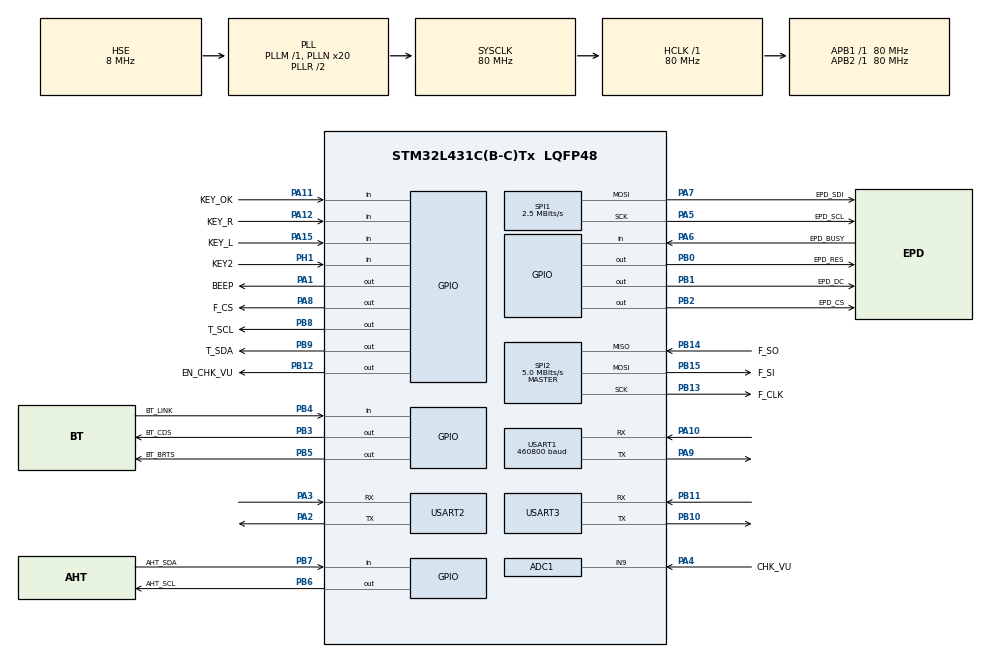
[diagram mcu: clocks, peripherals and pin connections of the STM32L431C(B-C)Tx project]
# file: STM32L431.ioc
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ADC1.Channel-1\#ChannelRegularConversion=ADC_CHANNEL_9
ADC1.NbrOfConversionFlag=1
ADC1.OffsetNumber-1\#ChannelRegularConversion=ADC_OFFSET_NONE
ADC1.Rank-1\#ChannelRegularConversion=1
ADC1.SamplingTime-1\#ChannelRegularConversion=ADC_SAMPLETIME_12CYCLES_5
ADC1.master=1
Dma.Request0=USART1_RX
Dma.Request1=USART1_TX
Dma.USART1_RX.0.Direction=DMA_PERIPH_TO_MEMORY
Dma.USART1_RX.0.Instance=DMA1_Channel5
Dma.USART1_RX.0.MemDataAlignment=DMA_MDATAALIGN_BYTE
Dma.USART1_RX.0.MemInc=DMA_MINC_ENABLE
Dma.USART1_RX.0.Mode=DMA_CIRCULAR
Dma.USART1_RX.0.PeriphDataAlignment=DMA_PDATAALIGN_BYTE
Dma.USART1_RX.0.PeriphInc=DMA_PINC_DISABLE
Dma.USART1_RX.0.Priority=DMA_PRIORITY_LOW
Dma.USART1_TX.1.Direction=DMA_MEMORY_TO_PERIPH
Dma.USART1_TX.1.Instance=DMA1_Channel4
Dma.USART1_TX.1.MemDataAlignment=DMA_MDATAALIGN_BYTE
Dma.USART1_TX.1.MemInc=DMA_MINC_ENABLE
Dma.USART1_TX.1.Mode=DMA_NORMAL
Dma.USART1_TX.1.PeriphDataAlignment=DMA_PDATAALIGN_BYTE
Dma.USART1_TX.1.PeriphInc=DMA_PINC_DISABLE
Dma.USART1_TX.1.Priority=DMA_PRIORITY_LOW
FREERTOS.Tasks01=defaultTask,0,128,StartDefaultTask,Default,NULL,Dynamic,NULL,NULL
FREERTOS.configMAX_PRIORITIES=16
FREERTOS.configTOTAL_HEAP_SIZE=15360
FREERTOS.configUSE_TICKLESS_IDLE=1
Mcu.Family=STM32L4
Mcu.Name=STM32L431C(B-C)Tx
Mcu.Package=LQFP48
NVIC.DMA1_Channel4_IRQn=true\:9\:0\:true\:false\:true\:true\:false\:true\:true
NVIC.DMA1_Channel5_IRQn=true\:9\:0\:true\:false\:true\:true\:false\:true\:true
NVIC.PriorityGroup=NVIC_PRIORITYGROUP_4
NVIC.TIM6_DAC_IRQn=true\:15\:0\:false\:false\:true\:false\:false\:true\:true
NVIC.TimeBase=TIM6_DAC_IRQn
NVIC.TimeBaseIP=TIM6
NVIC.USART1_IRQn=true\:7\:0\:true\:false\:true\:true\:true\:true\:true
NVIC.USART2_IRQn=true\:7\:0\:true\:false\:true\:true\:true\:true\:true
NVIC.USART3_IRQn=true\:8\:0\:true\:false\:true\:true\:true\:true\:true
PA0.GPIO_Label=KEY1_WKUP
PA0.Mode=SYS_WakeUp0
PA0.Signal=SYS_WKUP1
PA1.GPIO_Label=BEEP
PA1.GPIO_ModeDefaultOutputPP=GPIO_MODE_OUTPUT_PP
PA1.GPIO_PuPd=GPIO_PULLUP
PA1.GPIO_Speed=GPIO_SPEED_FREQ_HIGH
PA1.PinState=GPIO_PIN_RESET
PA1.Signal=GPIO_Output
PA10.Mode=Asynchronous
PA10.Signal=USART1_RX
PA11.GPIO_Label=KEY_OK
PA11.GPIO_PuPd=GPIO_PULLUP
PA11.Signal=GPIO_Input
PA12.GPIO_Label=KEY_R
PA12.GPIO_PuPd=GPIO_PULLUP
PA12.Signal=GPIO_Input
PA13\ (JTMS-SWDIO).Mode=Serial_Wire
PA13\ (JTMS-SWDIO).Signal=SYS_JTMS-SWDIO
PA14\ (JTCK-SWCLK).Mode=Serial_Wire
PA14\ (JTCK-SWCLK).Signal=SYS_JTCK-SWCLK
PA15\ (JTDI).GPIO_Label=KEY_L
PA15\ (JTDI).GPIO_PuPd=GPIO_PULLUP
PA15\ (JTDI).Signal=GPIO_Input
PA2.Mode=Asynchronous
PA2.Signal=USART2_TX
PA3.Mode=Asynchronous
PA3.Signal=USART2_RX
PA4.GPIO_Label=CHK_VU
PA4.Signal=ADCx_IN9
PA5.GPIO_Label=EPD_SCL
PA5.Mode=TX_Only_Simplex_Unidirect_Master
PA5.Signal=SPI1_SCK
PA6.GPIO_Label=EPD_BUSY
PA6.GPIO_PuPd=GPIO_PULLDOWN
PA6.Signal=GPIO_Input
PA7.GPIO_Label=EPD_SDI
PA7.Mode=TX_Only_Simplex_Unidirect_Master
PA7.Signal=SPI1_MOSI
PA8.GPIO_Label=F_CS
PA8.GPIO_Speed=GPIO_SPEED_FREQ_HIGH
PA8.Signal=GPIO_Output
PA9.Mode=Asynchronous
PA9.Signal=USART1_TX
PB0.GPIO_Label=EPD_RES
PB0.GPIO_Speed=GPIO_SPEED_FREQ_HIGH
PB0.PinState=GPIO_PIN_RESET
PB0.Signal=GPIO_Output
PB1.GPIO_Label=EPD_DC
PB1.GPIO_Speed=GPIO_SPEED_FREQ_HIGH
PB1.Signal=GPIO_Output
PB10.Mode=Asynchronous
PB10.Signal=USART3_TX
PB11.Mode=Asynchronous
PB11.Signal=USART3_RX
PB12.GPIO_Label=EN_CHK_VU
PB12.GPIO_Speed=GPIO_SPEED_FREQ_HIGH
PB12.Signal=GPIO_Output
PB13.GPIO_Label=F_CLK
PB13.Mode=Full_Duplex_Master
PB13.Signal=SPI2_SCK
PB14.GPIO_Label=F_SO
PB14.Mode=Full_Duplex_Master
PB14.Signal=SPI2_MISO
PB15.GPIO_Label=F_SI
PB15.Mode=Full_Duplex_Master
PB15.Signal=SPI2_MOSI
PB2.GPIO_Label=EPD_CS
PB2.GPIO_Speed=GPIO_SPEED_FREQ_HIGH
PB2.Signal=GPIO_Output
PB3\ (JTDO-TRACESWO).GPIO_Label=BT_CDS
PB3\ (JTDO-TRACESWO).GPIO_ModeDefaultOutputPP=GPIO_MODE_OUTPUT_PP
PB3\ (JTDO-TRACESWO).GPIO_PuPd=GPIO_NOPULL
PB3\ (JTDO-TRACESWO).GPIO_Speed=GPIO_SPEED_FREQ_LOW
PB3\ (JTDO-TRACESWO).PinState=GPIO_PIN_SET
PB3\ (JTDO-TRACESWO).Signal=GPIO_Output
PB4\ (NJTRST).GPIO_Label=BT_LINK
PB4\ (NJTRST).Signal=GPIO_Input
PB5.GPIO_Label=BT_BRTS
PB5.GPIO_PuPd=GPIO_NOPULL
PB5.GPIO_Speed=GPIO_SPEED_FREQ_LOW
PB5.Signal=GPIO_Output
PB6.GPIO_Label=AHT_SCL
PB6.GPIO_Speed=GPIO_SPEED_FREQ_HIGH
PB6.Signal=GPIO_Output
PB7.GPIO_Label=AHT_SDA
PB7.Signal=GPIO_Input
PB8.GPIO_Label=T_SCL
PB8.GPIO_ModeDefaultOutputPP=GPIO_MODE_OUTPUT_OD
PB8.GPIO_PuPd=GPIO_PULLUP
PB8.GPIO_Speed=GPIO_SPEED_FREQ_HIGH
PB8.Signal=GPIO_Output
PB9.GPIO_Label=T_SDA
PB9.GPIO_ModeDefaultOutputPP=GPIO_MODE_OUTPUT_OD
PB9.GPIO_PuPd=GPIO_PULLUP
PB9.GPIO_Speed=GPIO_SPEED_FREQ_HIGH
PB9.Signal=GPIO_Output
PC13.GPIO_Label=T_SQW
PC13.Mode=SYS_WakeUp1
PC13.Signal=SYS_WKUP2
PC14-OSC32_IN\ (PC14).Mode=LSE-External-Oscillator
PC14-OSC32_IN\ (PC14).Signal=RCC_OSC32_IN
PC15-OSC32_OUT\ (PC15).Mode=LSE-External-Oscillator
PC15-OSC32_OUT\ (PC15).Signal=RCC_OSC32_OUT
PH0-OSC_IN\ (PH0).Mode=HSE-External-Clock-Source
PH0-OSC_IN\ (PH0).Signal=RCC_OSC_IN
PH1-OSC_OUT\ (PH1).GPIO_Label=KEY2
PH1-OSC_OUT\ (PH1).Signal=GPIO_Input
ProjectManager.HeapSize=0x400
ProjectManager.StackSize=0x800
ProjectManager.TargetToolchain=MDK-ARM V5.32
RCC.ADCFreq_Value=80000000
RCC.AHBFreq_Value=80000000
RCC.APB1Freq_Value=80000000
RCC.APB1TimFreq_Value=80000000
RCC.APB2Freq_Value=80000000
RCC.APB2TimFreq_Value=80000000
RCC.CortexFreq_Value=80000000
RCC.HCLKFreq_Value=80000000
RCC.HSE_VALUE=8000000
RCC.HSI48_VALUE=48000000
RCC.HSI_VALUE=16000000
RCC.MSI_VALUE=4000000
RCC.PLLN=20
RCC.PLLSAI1N=20
RCC.PLLSourceVirtual=RCC_PLLSOURCE_HSE
RCC.RTCClockSelection=RCC_RTCCLKSOURCE_LSE
RCC.SYSCLKFreq_VALUE=80000000
RCC.SYSCLKSource=RCC_SYSCLKSOURCE_PLLCLK
RCC.VCOOutputFreq_Value=160000000
RTC.Date=15
RTC.Format=RTC_FORMAT_BIN
RTC.Hours=17
RTC.Minutes=45
RTC.Month=RTC_MONTH_FEBRUARY
RTC.Seconds=23
RTC.WeekDay=RTC_WEEKDAY_SATURDAY
RTC.Year=25
SH.ADCx_IN9.0=ADC1_IN9,IN9-Single-Ended
SPI1.BaudRatePrescaler=SPI_BAUDRATEPRESCALER_32
SPI1.CalculateBaudRate=2.5 MBits/s
SPI1.DataSize=SPI_DATASIZE_8BIT
SPI1.Direction=SPI_DIRECTION_2LINES
SPI1.Mode=SPI_MODE_MASTER
SPI1.NSSPMode=SPI_NSS_PULSE_ENABLE
SPI1.VirtualType=VM_MASTER
SPI2.BaudRatePrescaler=SPI_BAUDRATEPRESCALER_16
SPI2.CLKPhase=SPI_PHASE_1EDGE
SPI2.CalculateBaudRate=5.0 MBits/s
SPI2.DataSize=SPI_DATASIZE_8BIT
SPI2.Direction=SPI_DIRECTION_2LINES
SPI2.Mode=SPI_MODE_MASTER
SPI2.VirtualType=VM_MASTER
USART1.BaudRate=460800
USART1.VirtualMode-Asynchronous=VM_ASYNC
USART2.VirtualMode-Asynchronous=VM_ASYNC
USART3.VirtualMode-Asynchronous=VM_ASYNC
VP_FREERTOS_VS_CMSIS_V1.Mode=CMSIS_V1
VP_RTC_VS_RTC_Activate.Mode=RTC_Enabled
VP_RTC_VS_RTC_Calendar.Mode=RTC_Calendar
VP_SYS_VS_tim6.Mode=TIM6
board=custom

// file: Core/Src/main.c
/* USER CODE BEGIN Header */
/**
  ******************************************************************************
  * @file           : main.c
  * @brief          : Main program body
  ******************************************************************************
  * @attention
  *
  * Copyright (c) 2025 STMicroelectronics.
  * All rights reserved.
  *
  * This software is licensed under terms that can be found in the LICENSE file
  * in the root directory of this software component.
  * If no LICENSE file comes with this software, it is provided AS-IS.
  *
  ******************************************************************************
  */
/* USER CODE END Header */
#include "main.h"
#include "cmsis_os.h"
#include "adc.h"
#include "dma.h"
#include "rtc.h"
#include "spi.h"
#include "usart.h"
#include "gpio.h"

/* USER CODE BEGIN Includes */
#include "ATcmd.h"
#include "aht20.h"
#include "ds1307.h"
#include "w25qxx.h"
#include "DEV_Config.h"
#include "EPD_Command.h"
#include "GUI_Paint.h"
#include "Button.h"
#include "TEST.h"
/* USER CODE END Includes */

/* USER CODE BEGIN PTD */
TaskHandle_t StartTask_Handler;
void start_task(void *pvParameters);
/* USER CODE END PTD */

void SystemClock_Config(void);
void MX_FREERTOS_Init(void);

int main(void)
{

  /* MCU Configuration--------------------------------------------------------*/

  /* Reset of all peripherals, Initializes the Flash interface and the Systick. */
  HAL_Init();

  /* Configure the system clock */
  SystemClock_Config();

  /* Initialize all configured peripherals */
  MX_GPIO_Init();
  MX_DMA_Init();
  MX_ADC1_Init();
  MX_SPI1_Init();
  MX_SPI2_Init();
  MX_USART1_UART_Init();
  MX_USART2_UART_Init();
  MX_USART3_UART_Init();
  MX_RTC_Init();
  /* USER CODE BEGIN 2 */
	DWT_Init();
	AHT20_Init();
	W25QXX_Init();
	HAL_GPIO_WritePin(BT_CDS_GPIO_Port,BT_CDS_Pin,GPIO_PIN_SET);
	HAL_GPIO_WritePin(BT_BRTS_GPIO_Port,BT_BRTS_Pin,GPIO_PIN_RESET);
	HAL_GPIO_WritePin(EN_CHK_VU_GPIO_Port,EN_CHK_VU_Pin,GPIO_PIN_SET);
//	HAL_GPIO_WritePin(BEEP_GPIO_Port,BEEP_Pin,GPIO_PIN_SET);

  /* USER CODE END 2 */

  /* Call init function for freertos objects (in freertos.c) */
  MX_FREERTOS_Init();

  /* Start scheduler */
//  osKernelStart();
  /* We should never get here as control is now taken by the scheduler */
  /* Infinite loop */
  /* USER CODE BEGIN WHILE */
    xTaskCreate((TaskFunction_t )start_task,
                (const char*    )"start_task",
                (uint16_t       )128,
                (void*          )NULL,
                (UBaseType_t    )1,
                (TaskHandle_t*  )&StartTask_Handler);
    osKernelStart();
  while (1)
  {
    /* USER CODE END WHILE */

  }
}

void SystemClock_Config(void)
{
  RCC_OscInitTypeDef RCC_OscInitStruct = {0};
  RCC_ClkInitTypeDef RCC_ClkInitStruct = {0};

  /** Configure the main internal regulator output voltage
  */
  if (HAL_PWREx_ControlVoltageScaling(PWR_REGULATOR_VOLTAGE_SCALE1) != HAL_OK)
  {
    Error_Handler();
  }

  /** Configure LSE Drive Capability
  */
  HAL_PWR_EnableBkUpAccess();
  __HAL_RCC_LSEDRIVE_CONFIG(RCC_LSEDRIVE_LOW);

  /** Initializes the RCC Oscillators according to the specified parameters
  * in the RCC_OscInitTypeDef structure.
  */
  RCC_OscInitStruct.OscillatorType = RCC_OSCILLATORTYPE_HSE|RCC_OSCILLATORTYPE_LSE;
  RCC_OscInitStruct.HSEState = RCC_HSE_BYPASS;
  RCC_OscInitStruct.LSEState = RCC_LSE_ON;
  RCC_OscInitStruct.PLL.PLLState = RCC_PLL_ON;
  RCC_OscInitStruct.PLL.PLLSource = RCC_PLLSOURCE_HSE;
  RCC_OscInitStruct.PLL.PLLM = 1;
  RCC_OscInitStruct.PLL.PLLN = 20;
  RCC_OscInitStruct.PLL.PLLP = RCC_PLLP_DIV7;
  RCC_OscInitStruct.PLL.PLLQ = RCC_PLLQ_DIV2;
  RCC_OscInitStruct.PLL.PLLR = RCC_PLLR_DIV2;
  if (HAL_RCC_OscConfig(&RCC_OscInitStruct) != HAL_OK)
  {
    Error_Handler();
  }

  /** Initializes the CPU, AHB and APB buses clocks
  */
  RCC_ClkInitStruct.ClockType = RCC_CLOCKTYPE_HCLK|RCC_CLOCKTYPE_SYSCLK
                              |RCC_CLOCKTYPE_PCLK1|RCC_CLOCKTYPE_PCLK2;
  RCC_ClkInitStruct.SYSCLKSource = RCC_SYSCLKSOURCE_PLLCLK;
  RCC_ClkInitStruct.AHBCLKDivider = RCC_SYSCLK_DIV1;
  RCC_ClkInitStruct.APB1CLKDivider = RCC_HCLK_DIV1;
  RCC_ClkInitStruct.APB2CLKDivider = RCC_HCLK_DIV1;

  if (HAL_RCC_ClockConfig(&RCC_ClkInitStruct, FLASH_LATENCY_4) != HAL_OK)
  {
    Error_Handler();
  }
}

/* USER CODE BEGIN 4 */

void start_task(void *pvParameters)
{
    taskENTER_CRITICAL();
//    xTaskCreate((TaskFunction_t )ADC_Value(),
//                (const char*    )"ADC_Value",
//                (uint16_t       )128,
//                (void*          )NULL,
//                (UBaseType_t    )2,
//                (TaskHandle_t*  )&ADC_Value_Handle);
//    xTaskCreate((TaskFunction_t )EXP_test,
//                (const char*    )"EXP_test",
//                (uint16_t       )128,
//                (void*          )NULL,
//                (UBaseType_t    )2,
//                (TaskHandle_t*  )&EXP_test_Handle);
//    xTaskCreate((TaskFunction_t )ButtonTask,
//                (const char*    )"ButtonTask",
//                (uint16_t       )128,
//                (void*          )NULL,
//                (UBaseType_t    )2,
//									NULL
//                );
//    xTaskCreate((TaskFunction_t )EPD_test,
//                (const char*    )"EPD_test",
//                (uint16_t       )128,
//                (void*          )&EPD_test_Handle,
//                (UBaseType_t    )2,
//									NULL
//                );
				taskEXIT_CRITICAL();
				vTaskDelete(StartTask_Handler);
}

/* USER CODE END 4 */

void HAL_TIM_PeriodElapsedCallback(TIM_HandleTypeDef *htim)
{
  if (htim->Instance == TIM6) {
    HAL_IncTick();
  }
}

void Error_Handler(void)
{
  __disable_irq();
  while (1)
  {
  }
}
